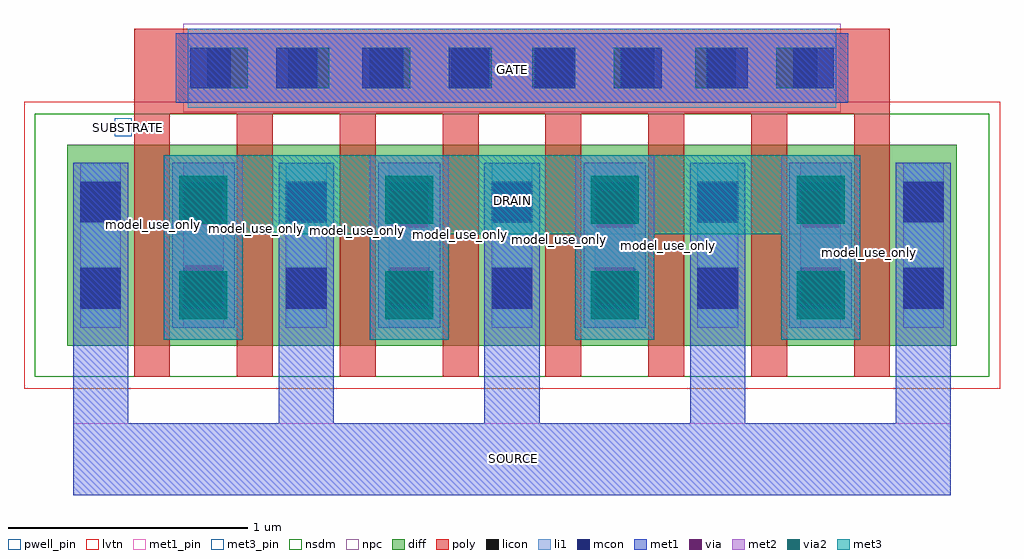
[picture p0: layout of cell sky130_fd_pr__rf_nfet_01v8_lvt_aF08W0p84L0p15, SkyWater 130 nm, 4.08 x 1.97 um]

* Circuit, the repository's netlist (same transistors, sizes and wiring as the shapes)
* Copyright 2020 The SkyWater PDK Authors
*
* Licensed under the Apache License, Version 2.0 (the "License");
* you may not use this file except in compliance with the License.
* You may obtain a copy of the License at
*
*     https://www.apache.org/licenses/LICENSE-2.0
*
* Unless required by applicable law or agreed to in writing, software
* distributed under the License is distributed on an "AS IS" BASIS,
* WITHOUT WARRANTIES OR CONDITIONS OF ANY KIND, either express or implied.
* See the License for the specific language governing permissions and
* limitations under the License.
*
* SPDX-License-Identifier: Apache-2.0


.subckt sky130_fd_pr__rf_nfet_01v8_lvt_aF08W0p84L0p15 DRAIN GATE SOURCE SUBSTRATE
X0 SOURCE GATE DRAIN SUBSTRATE sky130_fd_pr__nfet_01v8_lvt w=840000u l=150000u
X1 DRAIN GATE SOURCE SUBSTRATE sky130_fd_pr__nfet_01v8_lvt w=840000u l=150000u
X2 DRAIN GATE SOURCE SUBSTRATE sky130_fd_pr__nfet_01v8_lvt w=840000u l=150000u
X3 DRAIN GATE SOURCE SUBSTRATE sky130_fd_pr__nfet_01v8_lvt w=840000u l=150000u
X4 SOURCE GATE DRAIN SUBSTRATE sky130_fd_pr__nfet_01v8_lvt w=840000u l=150000u
X5 SOURCE GATE DRAIN SUBSTRATE sky130_fd_pr__nfet_01v8_lvt w=840000u l=150000u
X6 DRAIN GATE SOURCE SUBSTRATE sky130_fd_pr__nfet_01v8_lvt w=840000u l=150000u
X7 SOURCE GATE DRAIN SUBSTRATE sky130_fd_pr__nfet_01v8_lvt w=840000u l=150000u
.ends

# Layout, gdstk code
import gdstk
lib = gdstk.Library(unit=1e-6, precision=1e-09)
def R(c, l, rs):  # rectangles x0, y0, x1, y1
    for r in rs: c.add(gdstk.rectangle(r[:2], r[2:], *l))
def A(c, l, x, y, w, h, nx, ny, dx, dy):  # array of equal rectangles
    R(c, l, [(x+i*dx, y+j*dy, x+i*dx+w, y+j*dy+h) for i in range(nx) for j in range(ny)])
diff = (65, 20)
poly = (66, 20)
licon = (66, 44)
li1 = (67, 20)
mcon = (67, 44)
met1_pin = (68, 16)
met1 = (68, 20)
via = (68, 44)
met2 = (69, 20)
via2 = (69, 44)
met3_pin = (70, 16)
met3 = (70, 20)
nsdm = (93, 44)
npc = (95, 20)
pwell_pin = (122, 16)
lvtn = (125, 44)

sky130_fd_pr__rf_nfet_01 = lib.new_cell('sky130_fd_pr__rf_nfet_01v8_lvt_aF08W0p84L0p15')
A(sky130_fd_pr__rf_nfet_01, diff, 0.18, 0.18, 0.28, 0.84, 3, 1, 0.43, 0)
A(sky130_fd_pr__rf_nfet_01, diff, 0.21, 0.18, 0.25, 0.84, 4, 1, 0.86, 0)
A(sky130_fd_pr__rf_nfet_01, diff, 0.46, 0.18, 0.15, 0.84, 8, 1, 0.43, 0)
A(sky130_fd_pr__rf_nfet_01, diff, 1.04, 0.18, 0.28, 0.84, 3, 1, 0.43, 0)
A(sky130_fd_pr__rf_nfet_01, diff, 1.9, 0.18, 0.28, 0.84, 3, 1, 0.43, 0)
A(sky130_fd_pr__rf_nfet_01, diff, 2.76, 0.18, 0.28, 0.84, 3, 1, 0.43, 0)
R(sky130_fd_pr__rf_nfet_01, diff, [(3.62,0.18,3.9,1.02), (3.62,0.18,3.87,1.02), (3.65,0.18,3.9,1.02)])
A(sky130_fd_pr__rf_nfet_01, poly, 0.46, 0.05, 0.15, 1.1, 8, 1, 0.43, 0)
A(sky130_fd_pr__rf_nfet_01, poly, 0.46, 0.05, 0.15, 0.13, 8, 2, 0.43, 0.97)
R(sky130_fd_pr__rf_nfet_01, poly, [(0.46,1.15,3.62,1.505), (0.685,1.175,3.395,1.505)])
A(sky130_fd_pr__rf_nfet_01, licon, 0.235, 0.335, 0.17, 0.17, 9, 2, 0.43, 0.36)
A(sky130_fd_pr__rf_nfet_01, licon, 0.765, 1.255, 0.17, 0.17, 8, 1, 0.34, 0)
A(sky130_fd_pr__rf_nfet_01, li1, 0.235, 0.255, 0.17, 0.69, 9, 1, 0.43, 0)
R(sky130_fd_pr__rf_nfet_01, li1, [(0.685,1.175,3.395,1.505), (0.695,1.255,3.385,1.425)])
A(sky130_fd_pr__rf_nfet_01, mcon, 0.235, 0.335, 0.17, 0.17, 9, 2, 0.43, 0.36)
A(sky130_fd_pr__rf_nfet_01, mcon, 0.695, 1.255, 0.17, 0.17, 8, 1, 0.36, 0)
R(sky130_fd_pr__rf_nfet_01, met1_pin, [(0.205,-0.445,3.875,-0.145), (0.635,1.195,3.445,1.485)])
A(sky130_fd_pr__rf_nfet_01, met1, 0.62, 0.275, 0.26, 0.65, 4, 1, 0.86, 0)
R(sky130_fd_pr__rf_nfet_01, met1, [(0.635,1.195,3.445,1.485)])
A(sky130_fd_pr__rf_nfet_01, via, 1.535, 0.355, 0.15, 0.15, 3, 2, 0.86, 0.32)
R(sky130_fd_pr__rf_nfet_01, via, [(0.675,0.365,0.825,0.515), (0.675,0.685,0.825,0.835)])
A(sky130_fd_pr__rf_nfet_01, met2, 0.585, 0.205, 0.33, 0.77, 4, 1, 0.86, 0)
A(sky130_fd_pr__rf_nfet_01, met2, 0.62, 0.27, 0.26, 0.64, 4, 1, 0.86, 0)
A(sky130_fd_pr__rf_nfet_01, via2, 0.65, 0.29, 0.2, 0.2, 4, 2, 0.86, 0.4)
R(sky130_fd_pr__rf_nfet_01, met3_pin, [(0.585,0.645,3.495,0.975)])
A(sky130_fd_pr__rf_nfet_01, met3, 0.585, 0.205, 0.33, 0.77, 4, 1, 0.86, 0)
A(sky130_fd_pr__rf_nfet_01, nsdm, 0.21, 0.05, 0.4, 1.1, 7, 1, 0.43, 0)
A(sky130_fd_pr__rf_nfet_01, nsdm, 0.48, 0.05, 0.54, 1.1, 7, 1, 0.43, 0)
R(sky130_fd_pr__rf_nfet_01, nsdm, [(0.045,0.05,0.59,1.15), (3.22,0.05,3.87,1.15), (3.49,0.05,4.035,1.15)])
R(sky130_fd_pr__rf_nfet_01, npc, [(0.665,1.155,3.415,1.525)])
R(sky130_fd_pr__rf_nfet_01, pwell_pin, [(0.38,1.055,0.45,1.13)])
R(sky130_fd_pr__rf_nfet_01, lvtn, [(0,0,4.08,1.2)])
sky130_fd_pr__rf_nfet_01.add(gdstk.FlexPath([(0.585,0.81),(3.495,0.81)], 0.33, ends="flush", simple_path=True, layer=70, datatype=20))  # met3
sky130_fd_pr__rf_nfet_01.add(gdstk.FlexPath([(2.9,0.945),(2.9,-0.445)], 0.23, ends="flush", simple_path=True, layer=68, datatype=20))  # met1
sky130_fd_pr__rf_nfet_01.add(gdstk.FlexPath([(3.76,0.945),(3.76,-0.445)], 0.23, ends="flush", simple_path=True, layer=68, datatype=20))  # met1
sky130_fd_pr__rf_nfet_01.add(gdstk.FlexPath([(2.04,0.945),(2.04,-0.445)], 0.23, ends="flush", simple_path=True, layer=68, datatype=20))  # met1
sky130_fd_pr__rf_nfet_01.add(gdstk.FlexPath([(0.205,-0.295),(3.875,-0.295)], 0.3, ends="flush", simple_path=True, layer=68, datatype=20))  # met1
sky130_fd_pr__rf_nfet_01.add(gdstk.FlexPath([(1.18,0.945),(1.18,-0.445)], 0.23, ends="flush", simple_path=True, layer=68, datatype=20))  # met1
sky130_fd_pr__rf_nfet_01.add(gdstk.FlexPath([(3.33,0.945),(3.33,0.255)], 0.26, ends="flush", simple_path=True, layer=68, datatype=20))  # met1
sky130_fd_pr__rf_nfet_01.add(gdstk.FlexPath([(2.47,0.945),(2.47,0.255)], 0.26, ends="flush", simple_path=True, layer=68, datatype=20))  # met1
sky130_fd_pr__rf_nfet_01.add(gdstk.FlexPath([(1.61,0.945),(1.61,0.255)], 0.26, ends="flush", simple_path=True, layer=68, datatype=20))  # met1
sky130_fd_pr__rf_nfet_01.add(gdstk.FlexPath([(0.75,0.945),(0.75,0.255)], 0.26, ends="flush", simple_path=True, layer=68, datatype=20))  # met1
sky130_fd_pr__rf_nfet_01.add(gdstk.FlexPath([(0.32,0.945),(0.32,-0.445)], 0.23, ends="flush", simple_path=True, layer=68, datatype=20))  # met1
sky130_fd_pr__rf_nfet_01.add(gdstk.Label('model_use_only', (0.54,0.685), layer=66, texttype=83))
sky130_fd_pr__rf_nfet_01.add(gdstk.Label('model_use_only', (0.97,0.67), layer=66, texttype=83))
sky130_fd_pr__rf_nfet_01.add(gdstk.Label('model_use_only', (1.395,0.66), layer=66, texttype=83))
sky130_fd_pr__rf_nfet_01.add(gdstk.Label('model_use_only', (1.825,0.645), layer=66, texttype=83))
sky130_fd_pr__rf_nfet_01.add(gdstk.Label('model_use_only', (2.24,0.625), layer=66, texttype=83))
sky130_fd_pr__rf_nfet_01.add(gdstk.Label('model_use_only', (2.695,0.6), layer=66, texttype=83))
sky130_fd_pr__rf_nfet_01.add(gdstk.Label('model_use_only', (3.095,0.57), layer=66, texttype=83))
sky130_fd_pr__rf_nfet_01.add(gdstk.Label('model_use_only', (3.535,0.57), layer=66, texttype=83))
sky130_fd_pr__rf_nfet_01.add(gdstk.Label('DRAIN', (2.04,0.785), layer=70, texttype=16))
sky130_fd_pr__rf_nfet_01.add(gdstk.Label('GATE', (2.04,1.335), layer=68, texttype=16))
sky130_fd_pr__rf_nfet_01.add(gdstk.Label('SOURCE', (2.045,-0.29), layer=68, texttype=16))
sky130_fd_pr__rf_nfet_01.add(gdstk.Label('SUBSTRATE', (0.435,1.09), layer=64, texttype=59))

lib.write_gds('sky130_fd_pr__rf_nfet_01v8_lvt_aF08W0p84L0p15.gds')
